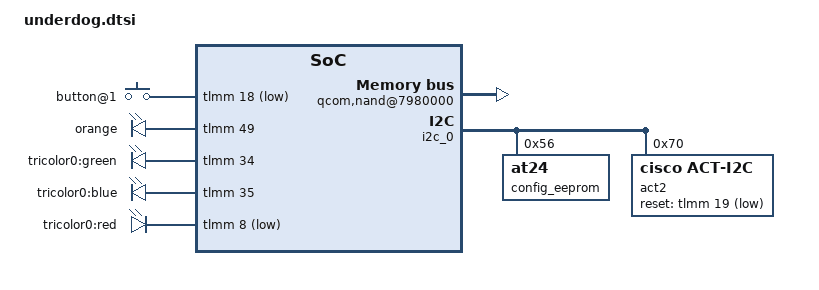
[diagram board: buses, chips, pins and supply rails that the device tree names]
#include <dt-bindings/meraki/tam.h>

/ {
	soc {
		qcom,nand@7980000 {
			status = "ok";
		};

		qcom,msm_qpic@7980000 {
			status = "ok";
		};

		gpio_keys {
			button@1 {
				gpios = <&tlmm 18 GPIO_ACTIVE_LOW>;
			};
		};

		i2c_1: i2c@78b8000 {
			status = "disabled";
		};

		serial@78b0000 {
			status = "disabled";
		};

		pcie0: pci@40000000 {
			status = "disabled";
		};

		i2c_0: i2c@78b7000 {
			pinctrl-0 = <&i2c_2_pins>;
			pinctrl-names = "default";
			status = "ok";
			config_eeprom: at24@50 {
				reg = <0x56>;
			};

			act2: act@70 {
				reg = <0x70>;
				compatible = "cisco,act-i2c";
				write-buf-size = /bits/ 16 <259>;
				reset-gpios = <&tlmm 19 GPIO_ACTIVE_LOW>;
				chip_family = <TAM_FAMILY_ACT2>;
			};
		};

		leds {
			pinctrl-name = "led_1_pins";
			pinctrl-0 = "default";

			orange {
				gpios = <&tlmm 49 GPIO_ACTIVE_HIGH>;
			};

			green {
				label = "tricolor0:green";
				gpios = <&tlmm 34 GPIO_ACTIVE_HIGH>;
				default-state = "off";
			};

			blue {
				label = "tricolor0:blue";
				gpios = <&tlmm 35 GPIO_ACTIVE_HIGH>;
				default-state = "off";
			};

			red {
				label = "tricolor0:red";
				gpios = <&tlmm 8 GPIO_ACTIVE_LOW>;
				default-state = "off";
			};
		};

		edma@c080000 {
			qcom,extra_phy_reset;
			qcom,num-gmac = <1>;
			gmac0 {
				qcom,phy-mdio-addr = <0>;
			};
		};

		ess-switch@c000000 {
			switch_mac_mode = <0x3>;
			switch_lan_bmp = <0x0>;
			switch_wan_bmp = <0x10>;
		};

		ess_tcsr: ess_tcsr@1953000 {
			ipq,ess-interface-select = <TCSR_ESS_PSGMII_RGMII5>;
		};
	};
};
